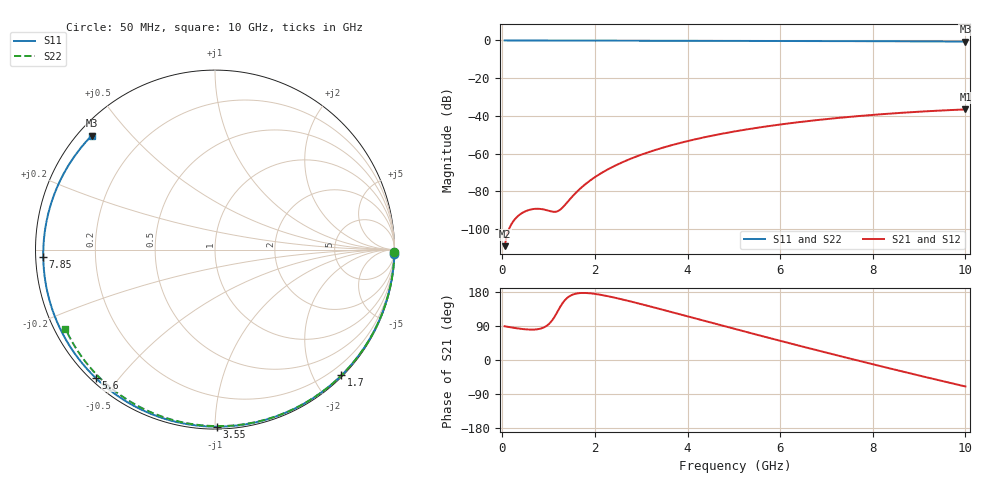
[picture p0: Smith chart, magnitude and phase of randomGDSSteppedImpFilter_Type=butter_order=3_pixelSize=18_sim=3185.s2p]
! freq	dB(S11)	phase(S11)	dB(S12)	phase(S12)
!  dB(S21)	phase(S21)	dB(S22)	phase(S22)
!S-par simulation data
#  GHz  S  DB  R 50
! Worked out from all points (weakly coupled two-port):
!   200 points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, 50 MHz to 10 GHz, reference 50 ohm
!   highest |S21| = -36.55 dB at 10 GHz (marker M1); lowest = -109.0 dB at 50 MHz (marker M2)
!   lowest |S11| = -0.6 dB at 10 GHz (marker M3), VSWR 30.01, Z = 1.92 + j19.6 ohm
!   |S11| at or under -10 dB: nowhere
!   |S22| runs from -0.5 to 0.0 dB; largest |S21 - S12| = 0
!   S11 on the Smith chart (normalised r, x): 50 MHz: 0, -84; 1.7 GHz: 0.02, -2.42; 3.55 GHz: 0.01, -1.01; 5.6 GHz: 0.01, -0.44; 7.85 GHz: 0.02, -0.02; 10 GHz: 0.04, +0.39
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0.05  -0.00 -1.4  -108.99 88.9  -108.99 88.9  -0.00 -0.9
0.4  -0.01 -10.8  -91.86 82.2  -91.86 82.2  -0.01 -7.0
0.8  -0.03 -21.4  -89.22 82.0  -89.22 82.0  -0.02 -13.9
1.2  -0.04 -32.0  -90.44 129.3  -90.44 129.3  -0.03 -20.8
1.6  -0.05 -42.3  -80.43 175.3  -80.43 175.3  -0.03 -27.6
1.7  -0.06 -44.8  -78.11 176.8  -78.11 176.8  -0.04 -29.3
1.75  -0.06 -46.1  -77.04 177.0  -77.04 177.0  -0.04 -30.2
2.05  -0.07 -53.7  -71.62 173.6  -71.62 173.6  -0.04 -35.2
2.45  -0.08 -63.5  -66.16 163.9  -66.16 163.9  -0.05 -41.9
2.9  -0.09 -74.3  -61.45 150.6  -61.45 150.6  -0.06 -49.2
3.4  -0.11 -85.9  -57.30 134.7  -57.30 134.7  -0.08 -57.3
3.55  -0.12 -89.3  -56.22 129.9  -56.22 129.9  -0.08 -59.7
4.25  -0.14 -104.7  -51.91 107.1  -51.91 107.1  -0.10 -70.6
5.05  -0.18 -121.5  -48.07 81.1  -48.07 81.1  -0.13 -82.7
5.6  -0.21 -132.7  -45.91 63.4  -45.91 63.4  -0.15 -90.8
6.15  -0.24 -143.8  -44.05 45.9  -44.05 45.9  -0.18 -98.8
6.7  -0.28 -154.6  -42.45 28.7  -42.45 28.7  -0.21 -106.6
7.3  -0.33 -166.5  -40.93 10.1  -40.93 10.1  -0.25 -115.0
7.85  -0.37 -177.4  -39.74 -6.7  -39.74 -6.7  -0.29 -122.5
8.35  -0.42 172.5  -38.79 -21.7  -38.79 -21.7  -0.33 -129.4
9.15  -0.50 155.8  -37.54 -45.4  -37.54 -45.4  -0.41 -140.4
10  -0.58 137.2  -36.55 -69.8  -36.55 -69.8  -0.51 -152.2
